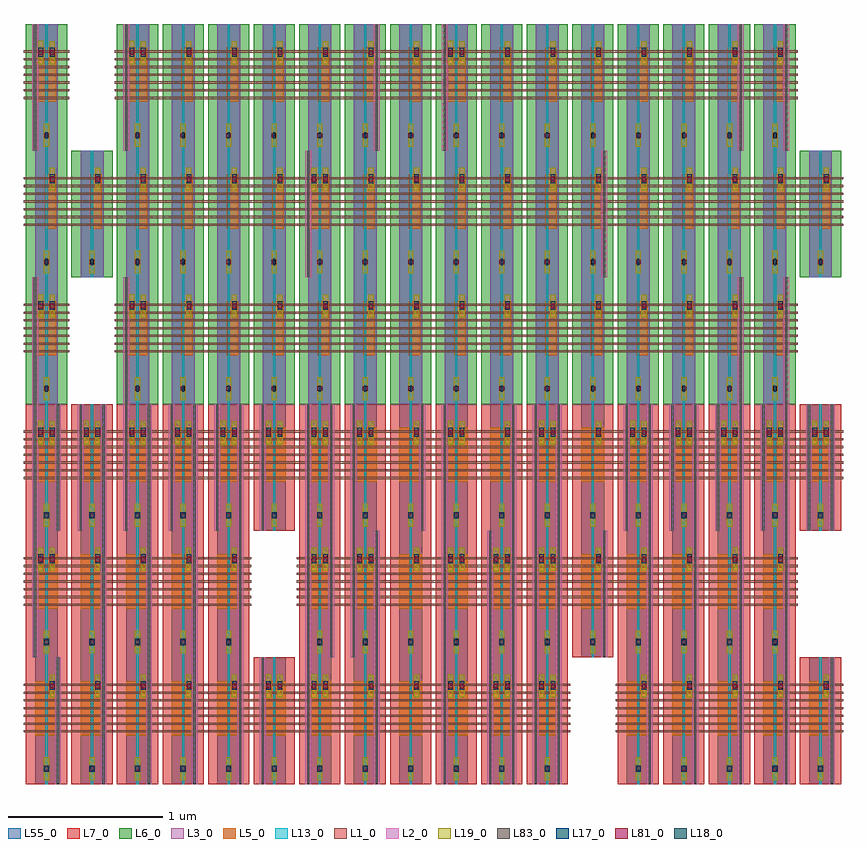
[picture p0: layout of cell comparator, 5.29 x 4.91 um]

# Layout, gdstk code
import gdstk
lib = gdstk.Library(unit=1e-6, precision=1e-09)
def R(c, l, rs):  # rectangles x0, y0, x1, y1
    for r in rs: c.add(gdstk.rectangle(r[:2], r[2:], *l))
def A(c, l, x, y, w, h, nx, ny, dx, dy):  # array of equal rectangles
    R(c, l, [(x+i*dx, y+j*dy, x+i*dx+w, y+j*dy+h) for i in range(nx) for j in range(ny)])
L1_0 = (1, 0)
L2_0 = (2, 0)
L3_0 = (3, 0)
L5_0 = (5, 0)
L6_0 = (6, 0)
L7_0 = (7, 0)
L13_0 = (13, 0)
L17_0 = (17, 0)
L18_0 = (18, 0)
L19_0 = (19, 0)
L55_0 = (55, 0)
L81_0 = (81, 0)
L83_0 = (83, 0)

nfet_pcell_144c = lib.new_cell('nfet_pcell_144c')
A(nfet_pcell_144c, L1_0, -0.14, 0, 0.294, 0.014, 1, 7, 0, 0.05)
R(nfet_pcell_144c, L2_0, [(-0.086,-0.333,-0.048,0.485), (0.062,-0.333,0.1,0.485)])
R(nfet_pcell_144c, L5_0, [(-0.067,-0.018,0,0.332), (0,-0.018,0.014,0.332), (0.014,-0.018,0.081,0.332)])
R(nfet_pcell_144c, L7_0, [(-0.126,-0.333,0.14,0.485)])
A(nfet_pcell_144c, L13_0, -0.074, -0.333, 0.014, 0.818, 3, 1, 0.074, 0)
R(nfet_pcell_144c, L13_0, [(-0.074,-0.333,-0.06,0.485), (0.074,-0.333,0.088,0.485)])
R(nfet_pcell_144c, L17_0, [(-0.045,0.275,-0.015,0.332), (0.029,0.275,0.059,0.332)])
R(nfet_pcell_144c, L18_0, [(-0.01,-0.254,0.024,-0.214)])
R(nfet_pcell_144c, L19_0, [(-0.01,-0.308,0.024,-0.16), (-0.01,-0.308,0.024,-0.16), (-0.047,0.224,-0.013,0.376), (-0.047,0.226,-0.013,0.374), (0.027,0.226,0.061,0.374), (0.027,0.23,0.061,0.37)])
R(nfet_pcell_144c, L55_0, [(-0.067,-0.333,0.081,0.485)])
R(nfet_pcell_144c, L81_0, [(-0.008,-0.249,0.022,-0.219), (-0.045,0.285,-0.015,0.315), (0.029,0.285,0.059,0.315)])
R(nfet_pcell_144c, L83_0, [(-0.074,-0.333,-0.06,0.485), (0.074,-0.333,0.088,0.485)])

nfet_manual_l0r1_144c = lib.new_cell('nfet_manual_l0r1_144c')
A(nfet_manual_l0r1_144c, L1_0, -0.14, 0, 0.294, 0.014, 1, 7, 0, 0.05)
R(nfet_manual_l0r1_144c, L2_0, [(-0.086,-0.333,-0.048,0.485)])
R(nfet_manual_l0r1_144c, L5_0, [(-0.067,-0.018,0,0.332), (0,-0.018,0.014,0.332), (0.014,-0.018,0.081,0.332)])
R(nfet_manual_l0r1_144c, L7_0, [(-0.126,-0.333,0.14,0.485)])
R(nfet_manual_l0r1_144c, L13_0, [(-0.074,-0.333,-0.06,0.485), (-0.074,-0.333,-0.06,0.485), (0,-0.333,0.014,0.485)])
R(nfet_manual_l0r1_144c, L17_0, [(-0.045,0.275,-0.015,0.332), (0.029,0.275,0.059,0.332)])
R(nfet_manual_l0r1_144c, L18_0, [(-0.01,-0.254,0.024,-0.214)])
R(nfet_manual_l0r1_144c, L19_0, [(-0.01,-0.308,0.024,-0.16), (-0.01,-0.308,0.024,-0.16), (-0.047,0.224,-0.013,0.376), (-0.047,0.226,-0.013,0.374), (0.027,0.226,0.061,0.374), (0.027,0.23,0.061,0.37)])
R(nfet_manual_l0r1_144c, L55_0, [(-0.067,-0.333,0.081,0.485)])
R(nfet_manual_l0r1_144c, L81_0, [(-0.008,-0.249,0.022,-0.219), (-0.045,0.285,-0.015,0.315), (0.029,0.285,0.059,0.315)])
R(nfet_manual_l0r1_144c, L83_0, [(-0.074,-0.333,-0.06,0.485)])

pfet_manual_l1r1_8642 = lib.new_cell('pfet_manual_l1r1_8642')
A(pfet_manual_l1r1_8642, L1_0, -0.14, 0, 0.294, 0.014, 1, 7, 0, 0.05)
R(pfet_manual_l1r1_8642, L3_0, [(-0.067,-0.333,0.081,0.485)])
R(pfet_manual_l1r1_8642, L5_0, [(-0.005,-0.018,0,0.332), (0,-0.018,0.014,0.332), (0.014,-0.018,0.069,0.332)])
R(pfet_manual_l1r1_8642, L6_0, [(-0.126,-0.333,0.14,0.485)])
R(pfet_manual_l1r1_8642, L13_0, [(0,-0.333,0.014,0.485)])
R(pfet_manual_l1r1_8642, L17_0, [(0.029,0.275,0.059,0.332)])
R(pfet_manual_l1r1_8642, L18_0, [(0,-0.254,0.014,-0.214)])
R(pfet_manual_l1r1_8642, L19_0, [(-0.01,-0.308,0.024,-0.16), (-0.01,-0.308,0.024,-0.16), (0.027,0.226,0.061,0.374), (0.027,0.23,0.061,0.37)])
R(pfet_manual_l1r1_8642, L55_0, [(-0.067,-0.333,0.081,0.485)])
R(pfet_manual_l1r1_8642, L81_0, [(-0.008,-0.249,0.022,-0.219), (0.029,0.285,0.059,0.315)])

nfet_manual_l1r1_144c = lib.new_cell('nfet_manual_l1r1_144c')
A(nfet_manual_l1r1_144c, L1_0, -0.14, 0, 0.294, 0.014, 1, 7, 0, 0.05)
R(nfet_manual_l1r1_144c, L5_0, [(-0.067,-0.018,0,0.332), (0,-0.018,0.014,0.332), (0.014,-0.018,0.081,0.332)])
R(nfet_manual_l1r1_144c, L7_0, [(-0.126,-0.333,0.14,0.485)])
R(nfet_manual_l1r1_144c, L13_0, [(0,-0.333,0.014,0.485)])
R(nfet_manual_l1r1_144c, L17_0, [(0.029,0.275,0.059,0.332)])
R(nfet_manual_l1r1_144c, L18_0, [(-0.01,-0.254,0.024,-0.214)])
R(nfet_manual_l1r1_144c, L19_0, [(-0.01,-0.308,0.024,-0.16), (-0.01,-0.308,0.024,-0.16), (0.027,0.226,0.061,0.374), (0.027,0.23,0.061,0.37)])
R(nfet_manual_l1r1_144c, L55_0, [(-0.067,-0.333,0.081,0.485)])
R(nfet_manual_l1r1_144c, L81_0, [(-0.008,-0.249,0.022,-0.219), (0.029,0.285,0.059,0.315)])

nfet_manual_l1r0_144c = lib.new_cell('nfet_manual_l1r0_144c')
A(nfet_manual_l1r0_144c, L1_0, -0.14, 0, 0.294, 0.014, 1, 7, 0, 0.05)
R(nfet_manual_l1r0_144c, L2_0, [(0.062,-0.333,0.1,0.485)])
R(nfet_manual_l1r0_144c, L5_0, [(-0.067,-0.018,0,0.332), (0,-0.018,0.014,0.332), (0.014,-0.018,0.081,0.332)])
R(nfet_manual_l1r0_144c, L7_0, [(-0.126,-0.333,0.14,0.485)])
R(nfet_manual_l1r0_144c, L13_0, [(0,-0.333,0.014,0.485), (0.074,-0.333,0.088,0.485), (0.074,-0.333,0.088,0.485)])
R(nfet_manual_l1r0_144c, L17_0, [(0.029,0.275,0.059,0.332)])
R(nfet_manual_l1r0_144c, L18_0, [(-0.01,-0.254,0.024,-0.214)])
R(nfet_manual_l1r0_144c, L19_0, [(-0.01,-0.308,0.024,-0.16), (-0.01,-0.308,0.024,-0.16), (0.027,0.226,0.061,0.374), (0.027,0.23,0.061,0.37)])
R(nfet_manual_l1r0_144c, L55_0, [(-0.067,-0.333,0.081,0.485)])
R(nfet_manual_l1r0_144c, L81_0, [(-0.008,-0.249,0.022,-0.219), (0.029,0.285,0.059,0.315)])
R(nfet_manual_l1r0_144c, L83_0, [(0.074,-0.333,0.088,0.485)])

pfet_manual_l1r0_95ad = lib.new_cell('pfet_manual_l1r0_95ad')
A(pfet_manual_l1r0_95ad, L1_0, -0.14, 0, 0.294, 0.014, 1, 7, 0, 0.05)
R(pfet_manual_l1r0_95ad, L2_0, [(0.062,-0.333,0.1,0.485)])
R(pfet_manual_l1r0_95ad, L3_0, [(-0.067,-0.333,0.081,0.485)])
R(pfet_manual_l1r0_95ad, L5_0, [(-0.005,-0.018,0,0.332), (0,-0.018,0.014,0.332), (0.014,-0.018,0.081,0.332)])
R(pfet_manual_l1r0_95ad, L6_0, [(-0.126,-0.333,0.14,0.485)])
R(pfet_manual_l1r0_95ad, L13_0, [(0,-0.333,0.014,0.485), (0.074,-0.333,0.088,0.485), (0.074,-0.333,0.088,0.485)])
R(pfet_manual_l1r0_95ad, L17_0, [(0.029,0.275,0.059,0.332)])
R(pfet_manual_l1r0_95ad, L18_0, [(0,-0.254,0.014,-0.214)])
R(pfet_manual_l1r0_95ad, L19_0, [(-0.01,-0.308,0.024,-0.16), (-0.01,-0.308,0.024,-0.16), (0.027,0.226,0.061,0.374), (0.027,0.23,0.061,0.37)])
R(pfet_manual_l1r0_95ad, L55_0, [(-0.067,-0.333,0.081,0.485)])
R(pfet_manual_l1r0_95ad, L81_0, [(-0.008,-0.249,0.022,-0.219), (0.029,0.285,0.059,0.315)])
R(pfet_manual_l1r0_95ad, L83_0, [(0.074,-0.333,0.088,0.485)])

pfet_manual_l0r1_1c5a = lib.new_cell('pfet_manual_l0r1_1c5a')
A(pfet_manual_l0r1_1c5a, L1_0, -0.14, 0, 0.294, 0.014, 1, 7, 0, 0.05)
R(pfet_manual_l0r1_1c5a, L2_0, [(-0.086,-0.333,-0.048,0.485)])
R(pfet_manual_l0r1_1c5a, L3_0, [(-0.067,-0.333,0.081,0.485)])
R(pfet_manual_l0r1_1c5a, L5_0, [(-0.067,-0.018,0,0.332), (0,-0.018,0.014,0.332), (0.014,-0.018,0.069,0.332)])
R(pfet_manual_l0r1_1c5a, L6_0, [(-0.126,-0.333,0.14,0.485)])
R(pfet_manual_l0r1_1c5a, L13_0, [(-0.074,-0.333,-0.06,0.485), (-0.074,-0.333,-0.06,0.485), (0,-0.333,0.014,0.485)])
R(pfet_manual_l0r1_1c5a, L17_0, [(-0.045,0.275,-0.015,0.332), (0.029,0.275,0.059,0.332)])
R(pfet_manual_l0r1_1c5a, L18_0, [(0,-0.254,0.014,-0.214)])
R(pfet_manual_l0r1_1c5a, L19_0, [(-0.01,-0.308,0.024,-0.16), (-0.01,-0.308,0.024,-0.16), (-0.047,0.224,-0.013,0.376), (-0.047,0.226,-0.013,0.374), (0.027,0.226,0.061,0.374), (0.027,0.23,0.061,0.37)])
R(pfet_manual_l0r1_1c5a, L55_0, [(-0.067,-0.333,0.081,0.485)])
R(pfet_manual_l0r1_1c5a, L81_0, [(-0.008,-0.249,0.022,-0.219), (-0.045,0.285,-0.015,0.315), (0.029,0.285,0.059,0.315)])
R(pfet_manual_l0r1_1c5a, L83_0, [(-0.074,-0.333,-0.06,0.485)])

comparator = lib.new_cell('comparator')
comparator.add(gdstk.Reference(nfet_pcell_144c, (3.234,-0.818)))
comparator.add(gdstk.Reference(nfet_pcell_144c, (1.764,0)))
comparator.add(gdstk.Reference(nfet_pcell_144c, (2.058,0)))
comparator.add(gdstk.Reference(nfet_pcell_144c, (2.94,0)))
comparator.add(gdstk.Reference(nfet_pcell_144c, (3.234,0)))
comparator.add(gdstk.Reference(nfet_pcell_144c, (2.94,-0.818)))
comparator.add(gdstk.Reference(nfet_manual_l0r1_144c, (1.47,0.818)))
comparator.add(gdstk.Reference(nfet_manual_l0r1_144c, (0,0)))
comparator.add(gdstk.Reference(nfet_manual_l0r1_144c, (2.646,0)))
comparator.add(gdstk.Reference(nfet_manual_l0r1_144c, (1.764,-0.818)))
comparator.add(gdstk.Reference(nfet_manual_l0r1_144c, (1.47,-0.818)))
comparator.add(gdstk.Reference(nfet_manual_l0r1_144c, (2.646,-0.818)))
comparator.add(gdstk.Reference(nfet_manual_l0r1_144c, (2.058,0.818)))
comparator.add(gdstk.Reference(nfet_manual_l0r1_144c, (2.646,0.818)))
comparator.add(gdstk.Reference(pfet_manual_l1r1_8642, (2.058,2.454)))
comparator.add(gdstk.Reference(pfet_manual_l1r1_8642, (2.94,2.454)))
comparator.add(gdstk.Reference(pfet_manual_l1r1_8642, (3.234,2.454)))
comparator.add(gdstk.Reference(pfet_manual_l1r1_8642, (1.47,2.454)))
comparator.add(gdstk.Reference(pfet_manual_l1r1_8642, (2.352,2.454)))
comparator.add(gdstk.Reference(pfet_manual_l1r1_8642, (2.646,2.454)))
comparator.add(gdstk.Reference(pfet_manual_l1r1_8642, (1.176,1.636)))
comparator.add(gdstk.Reference(pfet_manual_l1r1_8642, (1.764,1.636)))
comparator.add(gdstk.Reference(pfet_manual_l1r1_8642, (2.352,1.636)))
comparator.add(gdstk.Reference(pfet_manual_l1r1_8642, (2.94,1.636)))
comparator.add(gdstk.Reference(pfet_manual_l1r1_8642, (3.528,1.636)))
comparator.add(gdstk.Reference(pfet_manual_l1r1_8642, (4.116,1.636)))
comparator.add(gdstk.Reference(pfet_manual_l1r1_8642, (1.176,3.272)))
comparator.add(gdstk.Reference(pfet_manual_l1r1_8642, (1.764,3.272)))
comparator.add(gdstk.Reference(pfet_manual_l1r1_8642, (2.352,3.272)))
comparator.add(gdstk.Reference(pfet_manual_l1r1_8642, (2.94,3.272)))
comparator.add(gdstk.Reference(pfet_manual_l1r1_8642, (3.528,3.272)))
comparator.add(gdstk.Reference(pfet_manual_l1r1_8642, (4.116,3.272)))
comparator.add(gdstk.Reference(pfet_manual_l1r1_8642, (0.882,1.636)))
comparator.add(gdstk.Reference(pfet_manual_l1r1_8642, (1.47,1.636)))
comparator.add(gdstk.Reference(pfet_manual_l1r1_8642, (2.058,1.636)))
comparator.add(gdstk.Reference(pfet_manual_l1r1_8642, (2.646,1.636)))
comparator.add(gdstk.Reference(pfet_manual_l1r1_8642, (3.234,1.636)))
comparator.add(gdstk.Reference(pfet_manual_l1r1_8642, (3.822,1.636)))
comparator.add(gdstk.Reference(pfet_manual_l1r1_8642, (0.882,3.272)))
comparator.add(gdstk.Reference(pfet_manual_l1r1_8642, (1.47,3.272)))
comparator.add(gdstk.Reference(pfet_manual_l1r1_8642, (3.234,3.272)))
comparator.add(gdstk.Reference(pfet_manual_l1r1_8642, (3.822,3.272)))
comparator.add(gdstk.Reference(nfet_manual_l1r1_144c, (3.528,0.818)))
comparator.add(gdstk.Reference(nfet_manual_l1r1_144c, (2.352,0)))
comparator.add(gdstk.Reference(nfet_manual_l1r1_144c, (2.352,-0.818)))
comparator.add(gdstk.Reference(nfet_manual_l1r0_144c, (3.528,0)))
comparator.add(gdstk.Reference(pfet_manual_l1r0_95ad, (3.528,2.454)))
comparator.add(gdstk.Reference(pfet_manual_l1r0_95ad, (4.704,1.636)))
comparator.add(gdstk.Reference(pfet_manual_l1r0_95ad, (4.704,3.272)))
comparator.add(gdstk.Reference(pfet_manual_l1r0_95ad, (2.058,3.272)))
comparator.add(gdstk.Reference(pfet_manual_l1r0_95ad, (4.41,1.636)))
comparator.add(gdstk.Reference(pfet_manual_l1r0_95ad, (4.41,3.272)))
comparator.add(gdstk.Reference(nfet_manual_l1r0_144c, (3.528,0)))
comparator.add(gdstk.Reference(nfet_manual_l1r0_144c, (2.058,-0.818)))
comparator.add(gdstk.Reference(nfet_manual_l1r0_144c, (2.352,0.818)))
comparator.add(gdstk.Reference(nfet_manual_l1r0_144c, (2.94,0.818)))
comparator.add(gdstk.Reference(pfet_manual_l0r1_1c5a, (1.764,2.454)))
comparator.add(gdstk.Reference(pfet_manual_l0r1_1c5a, (0.588,1.636)))
comparator.add(gdstk.Reference(pfet_manual_l0r1_1c5a, (0.588,3.272)))
comparator.add(gdstk.Reference(pfet_manual_l0r1_1c5a, (0,1.636)))
comparator.add(gdstk.Reference(pfet_manual_l0r1_1c5a, (0,3.272)))
comparator.add(gdstk.Reference(pfet_manual_l0r1_1c5a, (2.646,3.272)))
comparator.add(gdstk.Reference(pfet_manual_l1r1_8642, (0,2.454)))
comparator.add(gdstk.Reference(pfet_manual_l1r1_8642, (0.294,2.454)))
comparator.add(gdstk.Reference(pfet_manual_l1r1_8642, (0.588,2.454)))
comparator.add(gdstk.Reference(pfet_manual_l1r1_8642, (0.882,2.454)))
comparator.add(gdstk.Reference(pfet_manual_l1r1_8642, (1.176,2.454)))
comparator.add(gdstk.Reference(pfet_manual_l1r1_8642, (3.822,2.454)))
comparator.add(gdstk.Reference(pfet_manual_l1r1_8642, (4.116,2.454)))
comparator.add(gdstk.Reference(pfet_manual_l1r1_8642, (4.41,2.454)))
comparator.add(gdstk.Reference(pfet_manual_l1r1_8642, (4.704,2.454)))
comparator.add(gdstk.Reference(pfet_manual_l1r1_8642, (4.998,2.454)))
comparator.add(gdstk.Reference(nfet_pcell_144c, (0,0.818)))
comparator.add(gdstk.Reference(nfet_pcell_144c, (0.294,0.818)))
comparator.add(gdstk.Reference(nfet_pcell_144c, (0.588,0.818)))
comparator.add(gdstk.Reference(nfet_pcell_144c, (0.882,0.818)))
comparator.add(gdstk.Reference(nfet_pcell_144c, (1.176,0.818)))
comparator.add(gdstk.Reference(nfet_pcell_144c, (1.764,0.818)))
comparator.add(gdstk.Reference(nfet_pcell_144c, (3.234,0.818)))
comparator.add(gdstk.Reference(nfet_pcell_144c, (3.822,0.818)))
comparator.add(gdstk.Reference(nfet_pcell_144c, (4.116,0.818)))
comparator.add(gdstk.Reference(nfet_pcell_144c, (4.41,0.818)))
comparator.add(gdstk.Reference(nfet_pcell_144c, (4.704,0.818)))
comparator.add(gdstk.Reference(nfet_pcell_144c, (4.998,0.818)))
comparator.add(gdstk.Reference(nfet_manual_l1r0_144c, (0.294,0)))
comparator.add(gdstk.Reference(nfet_manual_l1r0_144c, (0.588,0)))
comparator.add(gdstk.Reference(nfet_manual_l1r0_144c, (0.882,0)))
comparator.add(gdstk.Reference(nfet_manual_l1r0_144c, (1.176,0)))
comparator.add(gdstk.Reference(nfet_manual_l1r0_144c, (3.822,0)))
comparator.add(gdstk.Reference(nfet_manual_l1r0_144c, (4.116,0)))
comparator.add(gdstk.Reference(nfet_manual_l1r0_144c, (4.41,0)))
comparator.add(gdstk.Reference(nfet_manual_l1r0_144c, (4.704,0)))
comparator.add(gdstk.Reference(nfet_manual_l1r0_144c, (0,-0.818)))
comparator.add(gdstk.Reference(nfet_manual_l1r0_144c, (0.294,-0.818)))
comparator.add(gdstk.Reference(nfet_manual_l1r0_144c, (0.588,-0.818)))
comparator.add(gdstk.Reference(nfet_manual_l1r0_144c, (0.882,-0.818)))
comparator.add(gdstk.Reference(nfet_manual_l1r0_144c, (1.176,-0.818)))
comparator.add(gdstk.Reference(nfet_manual_l1r0_144c, (3.822,-0.818)))
comparator.add(gdstk.Reference(nfet_manual_l1r0_144c, (4.116,-0.818)))
comparator.add(gdstk.Reference(nfet_manual_l1r0_144c, (4.41,-0.818)))
comparator.add(gdstk.Reference(nfet_manual_l1r0_144c, (4.704,-0.818)))
comparator.add(gdstk.Reference(nfet_manual_l1r0_144c, (4.998,-0.818)))

lib.write_gds('comparator.gds')
